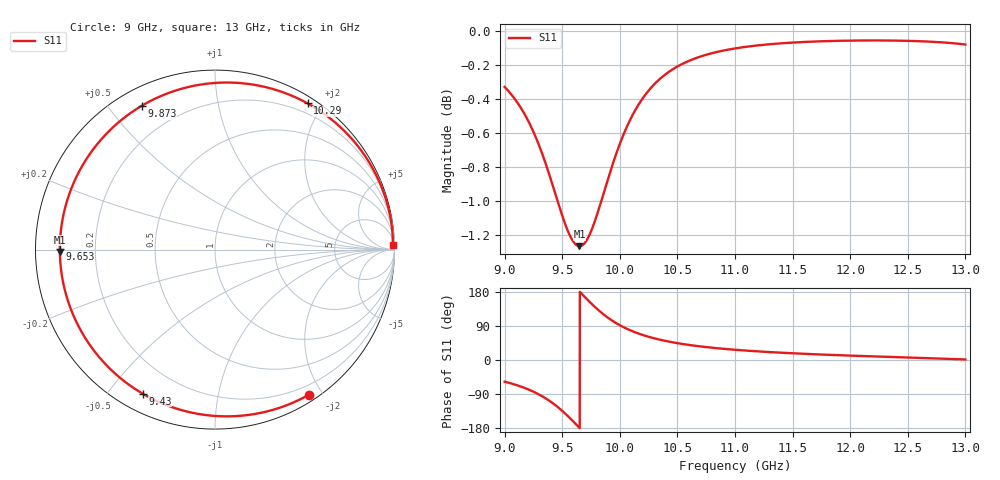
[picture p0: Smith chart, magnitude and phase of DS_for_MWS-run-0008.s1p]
! TOUCHSTONE file generated by CST DESIGN STUDIO
! Date and time: Wed Feb  5 13:39:16 2025
! Project name: C:\Work\MatlabApps\UnitCellOptimizationMatlab\CST\unitcell.cst
! Tree item: Tasks\Sweep1\SPara1\S-Parameters
! Header version: 2024
! Port assignment regex: !\s*Touchstone port\s*([0-9]+)\s*=\s*(CST MWS port|CST DES external port|CST DES block port)\s*(.+)\s* \(\"(.*)\"\)(\s*mode\s*([0-9]+))?.*
! Touchstone port assignment:
! Touchstone port 1 = CST DES external port 1 ("")
# GHz S MA R 50
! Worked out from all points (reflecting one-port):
!   4001 points, 9 GHz to 13 GHz, reference 50 ohm
!   lowest |S11| = -1.3 dB at 9.65 GHz (marker M1), VSWR 13.77, Z = 3.63 - j0.367 ohm
!   phase of S11 starts at -57 deg and turns -301 deg over the sweep
!   S11 on the Smith chart (normalised r, x): 9 GHz: 0.08, -1.83; 9.43 GHz: 0.07, -0.61; 9.653 GHz: 0.07, +0.00; 9.873 GHz: 0.07, +0.61; 10.29 GHz: 0.08, +1.81; 13 GHz: 25, +70
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9  0.9629 -57.2
9.108  0.9531 -66.6
9.217  0.9393 -79.1
9.335  0.9187 -97.2
9.384  0.9084 -106.7
9.43  0.8981 -116.7
9.5  0.8827 -134.2
9.581  0.869 -157.5
9.616  0.8657 -168.4
9.65  0.8646 -179.2
9.653  0.8646 179.9
9.699  0.8668 165.4
9.747  0.8729 150.7
9.81  0.8849 132.8
9.873  0.8992 117.0
9.933  0.9128 104.1
10  0.9265 91.8
10.069  0.9386 81.3
10.139  0.9486 72.4
10.293  0.9642 57.7
10.391  0.9708 50.7
10.5  0.9763 44.5
10.719  0.9834 35.1
11  0.9883 27.0
11.5  0.9922 17.7
12  0.9936 11.6
12.5  0.9934 6.6
13  0.9909 1.5
